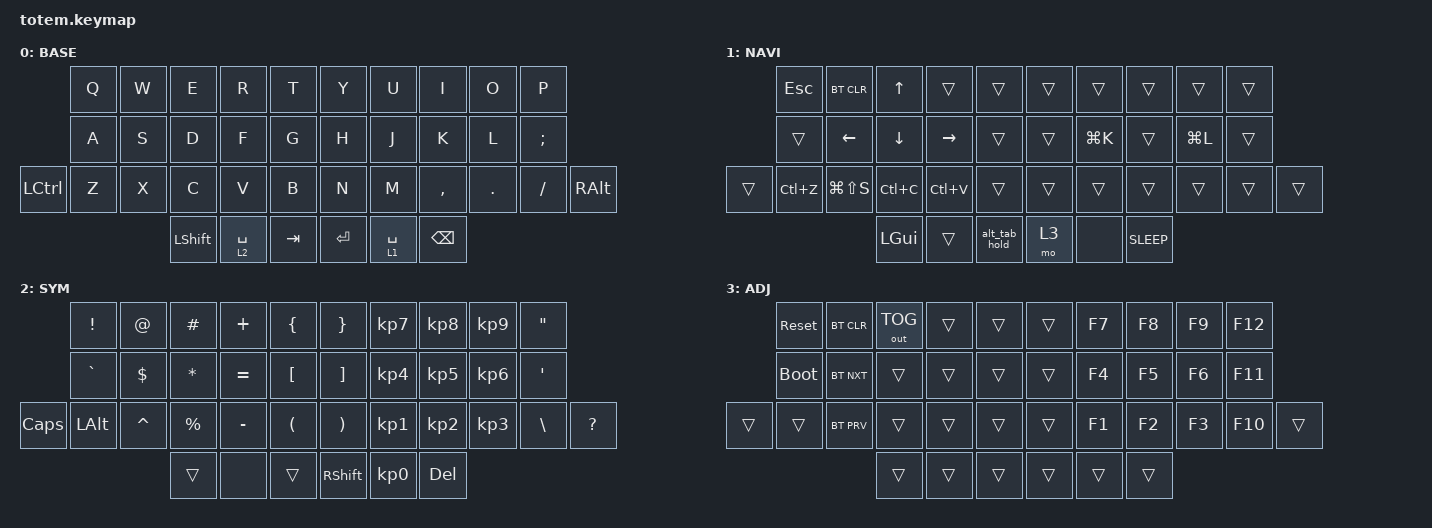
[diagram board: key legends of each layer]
//
//                                                        ▀▀▀▀▀     ▀▀▀▀▀          ▀▀█▀▀
//                                                        ▄▀▀▀▄  ▄  ▄▀▀▀▄  ▄  ▄▀▀▀▄  █  ▄▀▀▀▄
//                                                        █   █  █  █   █  █  █   █  █  █   █
//                                                         ▀▀▀   █   ▀▀▀   █   ▀▀▀   ▀   ▀▀▀
//                                                               █      ▄▄▄█▄▄▄    █   █  
//                                                               ▀      █  █  █     █▄█
//                                                             ▀▀▀▀▀    █  █  █      ▀
//                                                                      ▀  ▀  ▀
//
// ▄▄▄▄▄▄▄▄▄▄▄▄▄▄▄▄▄▄▄▄▄▄▄▄▄▄▄▄▄▄▄▄▄▄▄▄▄▄▄▄▄▄▄▄▄▄▄▄▄▄▄▄▄▄▄▄▄▄▄▄▄▄▄▄▄▄▄▄▄▄▄▄▄▄▄▄▄▄▄▄▄▄▄▄▄▄▄▄▄▄▄▄▄▄▄▄▄▄▄▄▄▄▄▄▄▄▄▄▄▄▄▄▄▄▄▄▄▄▄▄▄▄▄▄▄▄▄▄▄▄▄▄▄▄▄▄▄▄▄▄▄▄▄▄▄▄▄▄▄

#include <behaviors.dtsi>
#include <dt-bindings/zmk/bt.h>
#include <dt-bindings/zmk/keys.h>
#include <dt-bindings/zmk/outputs.h>

#define BASE 0
#define NAV  1
#define SYM  2
#define ADJ  3
#define TVP1 4
#define TVP2 5

&mt {
    quick-tap-ms = <100>;
    global-quick-tap;
    flavor = "tap-preferred";
    tapping-term-ms = <170>;
};

/ {
    combos {
        compatible = "zmk,combos";

        combo_esc {
            timeout-ms = <50>;
            key-positions = <0 1>;
            bindings = <&kp ESC>;
        };

        combo_tvp {
            timeout-ms = <100>;
            key-positions = <11 12 13>;
            bindings = <&tog 0>;
        };
    };

    macros {
        gif: gif {
            label = "giphy";
            compatible = "zmk,behavior-macro";
            #binding-cells = <0>;
            bindings =
                <&macro_press>,
                <&kp LSHFT>,
                <&macro_tap>,
                <&kp N2>,
                <&macro_release>,
                <&kp LSHFT>,
                <&macro_tap>,
                <&kp G &kp I &kp F>;
        };

        alt_tab_hold: alt_tab_hold {
            compatible = "zmk,behavior-macro";
            #binding-cells = <0>;
            bindings =
                <&macro_press>,
                <&kp LEFT_ALT>,
                <&macro_tap>,
                <&kp TAB>,
                <&macro_pause_for_release>,
                <&macro_release>,
                <&kp LEFT_ALT>;

            label = "ALT_TAB_HOLD";
        };
    };

    keymap {
        compatible = "zmk,keymap";

        // ▄▄▄▄▄▄▄▄▄▄▄▄▄▄▄▄▄▄▄▄▄▄▄▄▄▄▄▄▄▄▄▄▄▄▄▄▄▄▄▄▄▄▄▄▄▄▄▄▄▄▄▄▄▄▄▄▄▄▄▄▄▄▄▄▄▄▄▄▄▄▄▄▄▄▄▄▄▄▄▄▄▄▄▄▄▄▄▄▄▄▄▄▄▄▄▄▄▄▄▄▄▄▄▄▄▄▄▄▄▄▄▄▄▄▄▄▄▄▄▄▄▄▄▄▄▄▄▄▄▄▄▄▄▄▄▄▄▄▄▄▄▄▄▄▄▄▄▄▄

        base_layer {
            // ┏━━━━━━━━━━━━━━━━━━━━━━━━━━━━━━━━━━━━━━━┓

            label = "BASE";

            // ┗━━━━━━━━━━━━━━━━━━━━━━━━━━━━━━━━━━━━━━━┛
            //             ┏━━━━━━━━━━━┳━━━━━━━━━━━┳━━━━━━━━━━━┳━━━━━━━━━━━┳━━━━━━━━━━━┓   ┏━━━━━━━━━━━┳━━━━━━━━━━━┳━━━━━━━━━━━┳━━━━━━━━━━━┳━━━━━━━━━━━┓
            //             ┃     Q     ┃     W     ┃     F     ┃     P     ┃     G     ┃   ┃     J     ┃     L     ┃     U     ┃     Y     ┃     ;     ┃
            //             ┣━━━━━━━━━━━╋━━━━━━━━━━━╋━━━━━━━━━━━╋━━━━━━━━━━━╋━━━━━━━━━━━┫   ┣━━━━━━━━━━━╋━━━━━━━━━━━╋━━━━━━━━━━━╋━━━━━━━━━━━╋━━━━━━━━━━━┫
            //             ┃     A     ┃     R     ┃     S     ┃     T     ┃     D     ┃   ┃     H     ┃     N     ┃     E     ┃     I     ┃     O     ┃
            // ┏━━━━━━━━━━━╋━━━━━━━━━━━╋━━━━━━━━━━━╋━━━━━━━━━━━╋━━━━━━━━━━━╋━━━━━━━━━━━┫   ┣━━━━━━━━━━━╋━━━━━━━━━━━╋━━━━━━━━━━━╋━━━━━━━━━━━╋━━━━━━━━━━━╋━━━━━━━━━━━┓
            // ┃     Q     ┃     Z     ┃     X     ┃     C     ┃     V     ┃     B     ┃   ┃     K     ┃     M     ┃     ,     ┃     .     ┃     /     ┃     \     ┃
            // ┗━━━━━━━━━━━┻━━━━━━━━━━━┻━━━━━━━━━━━╋━━━━━━━━━━━╋━━━━━━━━━━━╋━━━━━━━━━━━┫   ┣━━━━━━━━━━━╋━━━━━━━━━━━╋━━━━━━━━━━━╋━━━━━━━━━━━┻━━━━━━━━━━━┻━━━━━━━━━━━┛
            //                                     ┃    DEL    ┃    TAB    ┃    SPC    ┃   ┃   ENTER   ┃           ┃   BSPC    ┃
            //                                     ┗━━━━━━━━━━━┻━━━━━━━━━━━┻━━━━━━━━━━━┛   ┗━━━━━━━━━━━┻━━━━━━━━━━━┻━━━━━━━━━━━┛

            bindings = <
           &kp Q  &kp W  &kp E      &kp R        &kp T      &kp Y    &kp U        &kp I      &kp O    &kp P
           &kp A  &kp S  &kp D      &kp F        &kp G      &kp H    &kp J        &kp K      &kp L    &kp SEMICOLON
&kp LCTRL  &kp Z  &kp X  &kp C      &kp V        &kp B      &kp N    &kp M        &kp COMMA  &kp DOT  &kp FSLH       &kp RALT
                         &kp LSHFT  &lt 2 SPACE  &kp TAB    &kp RET  &lt 1 SPACE  &kp BSPC
            >;
        };

        // ▄▄▄▄▄▄▄▄▄▄▄▄▄▄▄▄▄▄▄▄▄▄▄▄▄▄▄▄▄▄▄▄▄▄▄▄▄▄▄▄▄▄▄▄▄▄▄▄▄▄▄▄▄▄▄▄▄▄▄▄▄▄▄▄▄▄▄▄▄▄▄▄▄▄▄▄▄▄▄▄▄▄▄▄▄▄▄▄▄▄▄▄▄▄▄▄▄▄▄▄▄▄▄▄▄▄▄▄▄▄▄▄▄▄▄▄▄▄▄▄▄▄▄▄▄▄▄▄▄▄▄▄▄▄▄▄▄▄▄▄▄▄▄▄▄▄▄▄▄

        nav_layer {
            // ┏━━━━━━━━━━━━━━━━━━━━━━━━━━━━━━━━━━━━━━━┓

            label = "NAVI";

            // ┗━━━━━━━━━━━━━━━━━━━━━━━━━━━━━━━━━━━━━━━┛
            //             ┏━━━━━━━━━━━┳━━━━━━━━━━━┳━━━━━━━━━━━┳━━━━━━━━━━━┳━━━━━━━━━━━┓   ┏━━━━━━━━━━━┳━━━━━━━━━━━┳━━━━━━━━━━━┳━━━━━━━━━━━┳━━━━━━━━━━━┓
            //             ┃           ┃           ┃     UP    ┃           ┃     {     ┃   ┃     }     ┃     7     ┃     8     ┃     9     ┃     +     ┃
            //             ┣━━━━━━━━━━━╋━━━━━━━━━━━╋━━━━━━━━━━━╋━━━━━━━━━━━╋━━━━━━━━━━━┫   ┣━━━━━━━━━━━╋━━━━━━━━━━━╋━━━━━━━━━━━╋━━━━━━━━━━━╋━━━━━━━━━━━┫
            //             ┃   SHIFT   ┃   LEFT    ┃    DOWN   ┃   RIGHT   ┃     [     ┃   ┃     ]     ┃     4     ┃     5     ┃     6     ┃     -     ┃
            // ┏━━━━━━━━━━━╋━━━━━━━━━━━╋━━━━━━━━━━━╋━━━━━━━━━━━╋━━━━━━━━━━━╋━━━━━━━━━━━┫   ┣━━━━━━━━━━━╋━━━━━━━━━━━╋━━━━━━━━━━━╋━━━━━━━━━━━╋━━━━━━━━━━━╋━━━━━━━━━━━┓
            // ┃           ┃           ┃   P UP    ┃  C LOCK   ┃  P DOWN   ┃     (     ┃   ┃     )     ┃     1     ┃     2     ┃     3     ┃     *     ┃           ┃
            // ┗━━━━━━━━━━━┻━━━━━━━━━━━┻━━━━━━━━━━━╋━━━━━━━━━━━╋━━━━━━━━━━━╋━━━━━━━━━━━┫   ┣━━━━━━━━━━━╋━━━━━━━━━━━╋━━━━━━━━━━━╋━━━━━━━━━━━┻━━━━━━━━━━━┻━━━━━━━━━━━┛
            //                                     ┃           ┃    TAB    ┃    SPC    ┃   ┃    DEL    ┃     0     ┃           ┃
            //                                     ┗━━━━━━━━━━━┻━━━━━━━━━━━┻━━━━━━━━━━━┛   ┗━━━━━━━━━━━┻━━━━━━━━━━━┻━━━━━━━━━━━┛

            bindings = <
        &kp ESC    &bt BT_CLR     &kp UP        &trans     &trans           &trans  &trans     &trans       &trans     &trans
        &trans     &kp LEFT       &kp DOWN      &kp RIGHT  &trans           &trans  &kp LG(K)  &trans       &kp LG(L)  &trans
&trans  &kp LC(Z)  &kp LG(LS(S))  &kp LC(C)     &kp LC(V)  &trans           &trans  &trans     &trans       &trans     &trans  &trans
                                  &kp LEFT_GUI  &trans     &alt_tab_hold    &mo 3   &none      &kp C_SLEEP
            >;
        };

        // ▄▄▄▄▄▄▄▄▄▄▄▄▄▄▄▄▄▄▄▄▄▄▄▄▄▄▄▄▄▄▄▄▄▄▄▄▄▄▄▄▄▄▄▄▄▄▄▄▄▄▄▄▄▄▄▄▄▄▄▄▄▄▄▄▄▄▄▄▄▄▄▄▄▄▄▄▄▄▄▄▄▄▄▄▄▄▄▄▄▄▄▄▄▄▄▄▄▄▄▄▄▄▄▄▄▄▄▄▄▄▄▄▄▄▄▄▄▄▄▄▄▄▄▄▄▄▄▄▄▄▄▄▄▄▄▄▄▄▄▄▄▄▄▄▄▄▄▄▄

        sim_layer {
            // ┏━━━━━━━━━━━━━━━━━━━━━━━━━━━━━━━━━━━━━━━┓

            label = "SYM";

            // ┗━━━━━━━━━━━━━━━━━━━━━━━━━━━━━━━━━━━━━━━┛
            //             ┏━━━━━━━━━━━┳━━━━━━━━━━━┳━━━━━━━━━━━┳━━━━━━━━━━━┳━━━━━━━━━━━┓   ┏━━━━━━━━━━━┳━━━━━━━━━━━┳━━━━━━━━━━━┳━━━━━━━━━━━┳━━━━━━━━━━━┓
            //             ┃     !     ┃     @     ┃     #     ┃     $     ┃     %     ┃   ┃     ˆ     ┃     &     ┃     Ü     ┃     '     ┃     "     ┃
            //             ┣━━━━━━━━━━━╋━━━━━━━━━━━╋━━━━━━━━━━━╋━━━━━━━━━━━╋━━━━━━━━━━━┫   ┣━━━━━━━━━━━╋━━━━━━━━━━━╋━━━━━━━━━━━╋━━━━━━━━━━━╋━━━━━━━━━━━┫
            //             ┃     Ä     ┃           ┃    SZ     ┃           ┃           ┃   ┃   MUTE    ┃   YEN     ┃   EURO    ┃  POUND    ┃     Ö     ┃
            // ┏━━━━━━━━━━━╋━━━━━━━━━━━╋━━━━━━━━━━━╋━━━━━━━━━━━╋━━━━━━━━━━━╋━━━━━━━━━━━┫   ┣━━━━━━━━━━━╋━━━━━━━━━━━╋━━━━━━━━━━━╋━━━━━━━━━━━╋━━━━━━━━━━━╋━━━━━━━━━━━┓
            // ┃           ┃  EMAIL1   ┃  EMAIL2   ┃           ┃           ┃           ┃   ┃   VOL-    ┃   VOL+    ┃   LAST    ┃   NEXT    ┃     \     ┃           ┃
            // ┗━━━━━━━━━━━┻━━━━━━━━━━━┻━━━━━━━━━━━╋━━━━━━━━━━━╋━━━━━━━━━━━╋━━━━━━━━━━━┫   ┣━━━━━━━━━━━╋━━━━━━━━━━━╋━━━━━━━━━━━╋━━━━━━━━━━━┻━━━━━━━━━━━┻━━━━━━━━━━━┛
            //                                     ┃           ┃    GIF    ┃    ADJ    ┃   ┃           ┃           ┃           ┃
            //                                     ┗━━━━━━━━━━━┻━━━━━━━━━━━┻━━━━━━━━━━━┛   ┗━━━━━━━━━━━┻━━━━━━━━━━━┻━━━━━━━━━━━┛

            bindings = <
          &kp EXCL      &kp AT      &kp HASH      &kp PLUS   &kp LEFT_BRACE          &kp RIGHT_BRACE        &kp KP_NUMBER_7  &kp KP_NUMBER_8  &kp KP_NUMBER_9  &kp DQT
          &kp GRAVE     &kp DOLLAR  &kp ASTERISK  &kp EQUAL  &kp LEFT_BRACKET        &kp RIGHT_BRACKET      &kp KP_NUMBER_4  &kp KP_NUMBER_5  &kp KP_NUMBER_6  &kp APOSTROPHE
&kp CAPS  &kp LEFT_ALT  &kp CARET   &kp PERCENT   &kp MINUS  &kp LEFT_PARENTHESIS    &kp RIGHT_PARENTHESIS  &kp KP_NUMBER_1  &kp KP_NUMBER_2  &kp KP_NUMBER_3  &kp BSLH        &kp QUESTION
                                    &trans        &none      &trans                  &kp RIGHT_SHIFT        &kp KP_NUMBER_0  &kp DEL
            >;
        };

        // ▄▄▄▄▄▄▄▄▄▄▄▄▄▄▄▄▄▄▄▄▄▄▄▄▄▄▄▄▄▄▄▄▄▄▄▄▄▄▄▄▄▄▄▄▄▄▄▄▄▄▄▄▄▄▄▄▄▄▄▄▄▄▄▄▄▄▄▄▄▄▄▄▄▄▄▄▄▄▄▄▄▄▄▄▄▄▄▄▄▄▄▄▄▄▄▄▄▄▄▄▄▄▄▄▄▄▄▄▄▄▄▄▄▄▄▄▄▄▄▄▄▄▄▄▄▄▄▄▄▄▄▄▄▄▄▄▄▄▄▄▄▄▄▄▄▄▄▄▄

        adjust_layer {
            // ┏━━━━━━━━━━━━━━━━━━━━━━━━━━━━━━━━━━━━━━━┓

            label = "ADJ";

            // ┗━━━━━━━━━━━━━━━━━━━━━━━━━━━━━━━━━━━━━━━┛
            //             ┏━━━━━━━━━━━┳━━━━━━━━━━━┳━━━━━━━━━━━┳━━━━━━━━━━━┳━━━━━━━━━━━┓   ┏━━━━━━━━━━━┳━━━━━━━━━━━┳━━━━━━━━━━━┳━━━━━━━━━━━┳━━━━━━━━━━━┓
            //             ┃   RESET   ┃ BT CLEAR  ┃  OUT TOG  ┃           ┃           ┃   ┃           ┃    F7     ┃    F8     ┃    F9     ┃    F12    ┃
            //             ┣━━━━━━━━━━━╋━━━━━━━━━━━╋━━━━━━━━━━━╋━━━━━━━━━━━╋━━━━━━━━━━━┫   ┣━━━━━━━━━━━╋━━━━━━━━━━━╋━━━━━━━━━━━╋━━━━━━━━━━━╋━━━━━━━━━━━┫
            //             ┃ BOOTLOAD  ┃ BT NEXT   ┃           ┃           ┃           ┃   ┃           ┃    F4     ┃    F5     ┃    F6     ┃    F11    ┃
            // ┏━━━━━━━━━━━╋━━━━━━━━━━━╋━━━━━━━━━━━╋━━━━━━━━━━━╋━━━━━━━━━━━╋━━━━━━━━━━━┫   ┣━━━━━━━━━━━╋━━━━━━━━━━━╋━━━━━━━━━━━╋━━━━━━━━━━━╋━━━━━━━━━━━╋━━━━━━━━━━━┓
            // ┃           ┃           ┃ BT PREV   ┃           ┃           ┃           ┃   ┃           ┃    F1     ┃    F2     ┃    F3     ┃    F10    ┃           ┃
            // ┗━━━━━━━━━━━┻━━━━━━━━━━━┻━━━━━━━━━━━╋━━━━━━━━━━━╋━━━━━━━━━━━╋━━━━━━━━━━━┫   ┣━━━━━━━━━━━╋━━━━━━━━━━━╋━━━━━━━━━━━╋━━━━━━━━━━━┻━━━━━━━━━━━┻━━━━━━━━━━━┛
            //                                     ┃           ┃           ┃           ┃   ┃           ┃           ┃           ┃
            //                                     ┗━━━━━━━━━━━┻━━━━━━━━━━━┻━━━━━━━━━━━┛   ┗━━━━━━━━━━━┻━━━━━━━━━━━┻━━━━━━━━━━━┛

            bindings = <
        &sys_reset   &bt BT_CLR  &out OUT_TOG  &trans  &trans    &trans  &kp F7  &kp F8  &kp F9  &kp F12
        &bootloader  &bt BT_NXT  &trans        &trans  &trans    &trans  &kp F4  &kp F5  &kp F6  &kp F11
&trans  &trans       &bt BT_PRV  &trans        &trans  &trans    &trans  &kp F1  &kp F2  &kp F3  &kp F10  &trans
                                 &trans        &trans  &trans    &trans  &trans  &trans
            >;
        };

        // ▄▄▄▄▄▄▄▄▄▄▄▄▄▄▄▄▄▄▄▄▄▄▄▄▄▄▄▄▄▄▄▄▄▄▄▄▄▄▄▄▄▄▄▄▄▄▄▄▄▄▄▄▄▄▄▄▄▄▄▄▄▄▄▄▄▄▄▄▄▄▄▄▄▄▄▄▄▄▄▄▄▄▄▄▄▄▄▄▄▄▄▄▄▄▄▄▄▄▄▄▄▄▄▄▄▄▄▄▄▄▄▄▄▄▄▄▄▄▄▄▄▄▄▄▄▄▄▄▄▄▄▄▄▄▄▄▄▄▄▄▄▄▄▄▄▄▄▄▄
        // ▄▄▄▄▄▄▄▄▄▄▄▄▄▄▄▄▄▄▄▄▄▄▄▄▄▄▄▄▄▄▄▄▄▄▄▄▄▄▄▄▄▄▄▄▄▄▄▄▄▄▄▄▄▄▄▄▄▄▄▄▄▄▄▄▄▄▄▄▄▄▄▄▄▄▄▄▄▄▄▄▄▄▄▄▄▄▄▄▄▄▄▄▄▄▄▄▄▄▄▄▄▄▄▄▄▄▄▄▄▄▄▄▄▄▄▄▄▄▄▄▄▄▄▄▄▄▄▄▄▄▄▄▄▄▄▄▄▄▄▄▄▄▄▄▄▄▄▄▄
    };
};
